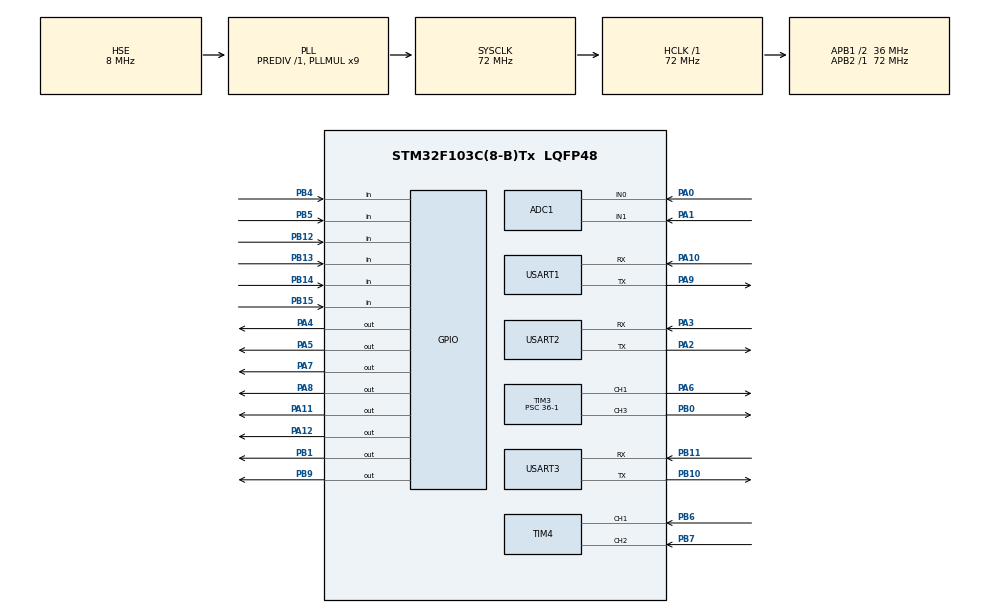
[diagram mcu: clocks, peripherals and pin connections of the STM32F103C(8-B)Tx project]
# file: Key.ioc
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ADC1.Channel-0\#ChannelRegularConversion=ADC_CHANNEL_0
ADC1.Channel-1\#ChannelRegularConversion=ADC_CHANNEL_1
ADC1.ContinuousConvMode=ENABLE
ADC1.NbrOfConversion=2
ADC1.NbrOfConversionFlag=1
ADC1.Rank-0\#ChannelRegularConversion=1
ADC1.Rank-1\#ChannelRegularConversion=2
ADC1.SamplingTime-0\#ChannelRegularConversion=ADC_SAMPLETIME_55CYCLES_5
ADC1.SamplingTime-1\#ChannelRegularConversion=ADC_SAMPLETIME_55CYCLES_5
ADC1.master=1
Dma.ADC1.0.Direction=DMA_PERIPH_TO_MEMORY
Dma.ADC1.0.Instance=DMA1_Channel1
Dma.ADC1.0.MemDataAlignment=DMA_MDATAALIGN_HALFWORD
Dma.ADC1.0.MemInc=DMA_MINC_ENABLE
Dma.ADC1.0.Mode=DMA_CIRCULAR
Dma.ADC1.0.PeriphDataAlignment=DMA_PDATAALIGN_HALFWORD
Dma.ADC1.0.PeriphInc=DMA_PINC_DISABLE
Dma.ADC1.0.Priority=DMA_PRIORITY_LOW
Dma.Request0=ADC1
IWDG.Prescaler=IWDG_PRESCALER_64
IWDG.Reload=3124
Mcu.Family=STM32F1
Mcu.Name=STM32F103C(8-B)Tx
Mcu.Package=LQFP48
NVIC.DMA1_Channel1_IRQn=true\:0\:0\:false\:false\:true\:false\:true\:true
NVIC.PriorityGroup=NVIC_PRIORITYGROUP_4
NVIC.TIM2_IRQn=true\:15\:0\:false\:false\:true\:false\:true\:true
NVIC.TimeBase=TIM2_IRQn
NVIC.TimeBaseIP=TIM2
NVIC.USART1_IRQn=true\:11\:0\:true\:false\:true\:true\:true\:true
NVIC.USART2_IRQn=true\:11\:0\:true\:false\:true\:true\:true\:true
NVIC.USART3_IRQn=true\:11\:0\:true\:false\:true\:true\:true\:true
PA0-WKUP.Signal=ADCx_IN0
PA1.Signal=ADCx_IN1
PA10.Mode=Asynchronous
PA10.Signal=USART1_RX
PA11.PinState=GPIO_PIN_RESET
PA11.Signal=GPIO_Output
PA12.PinState=GPIO_PIN_RESET
PA12.Signal=GPIO_Output
PA2.Mode=Asynchronous
PA2.Signal=USART2_TX
PA3.Mode=Asynchronous
PA3.Signal=USART2_RX
PA4.GPIO_ModeDefaultOutputPP=GPIO_MODE_OUTPUT_OD
PA4.GPIO_PuPd=GPIO_NOPULL
PA4.PinState=GPIO_PIN_SET
PA4.Signal=GPIO_Output
PA5.GPIO_ModeDefaultOutputPP=GPIO_MODE_OUTPUT_OD
PA5.GPIO_PuPd=GPIO_NOPULL
PA5.PinState=GPIO_PIN_SET
PA5.Signal=GPIO_Output
PA6.Signal=S_TIM3_CH1
PA7.PinState=GPIO_PIN_RESET
PA7.Signal=GPIO_Output
PA8.PinState=GPIO_PIN_RESET
PA8.Signal=GPIO_Output
PA9.Mode=Asynchronous
PA9.Signal=USART1_TX
PB0.Signal=S_TIM3_CH3
PB1.PinState=GPIO_PIN_RESET
PB1.Signal=GPIO_Output
PB10.Mode=Asynchronous
PB10.Signal=USART3_TX
PB11.Mode=Asynchronous
PB11.Signal=USART3_RX
PB12.GPIO_PuPd=GPIO_PULLUP
PB12.Signal=GPIO_Input
PB13.GPIO_PuPd=GPIO_PULLUP
PB13.Signal=GPIO_Input
PB14.GPIO_PuPd=GPIO_PULLUP
PB14.Signal=GPIO_Input
PB15.GPIO_PuPd=GPIO_PULLUP
PB15.Signal=GPIO_Input
PB4.GPIO_Mode=GPIO_MODE_INPUT
PB4.Signal=GPIO_Input
PB5.GPIO_PuPd=GPIO_PULLUP
PB5.Signal=GPIO_Input
PB6.Signal=S_TIM4_CH1
PB7.Signal=S_TIM4_CH2
PB9.GPIO_ModeDefaultOutputPP=GPIO_MODE_OUTPUT_OD
PB9.GPIO_PuPd=GPIO_NOPULL
PB9.PinState=GPIO_PIN_SET
PB9.Signal=GPIO_Output
PC14-OSC32_IN.Mode=LSE-External-Oscillator
PC14-OSC32_IN.Signal=RCC_OSC32_IN
PC15-OSC32_OUT.Mode=LSE-External-Oscillator
PC15-OSC32_OUT.Signal=RCC_OSC32_OUT
PD0-OSC_IN.Mode=HSE-External-Oscillator
PD0-OSC_IN.Signal=RCC_OSC_IN
PD1-OSC_OUT.Mode=HSE-External-Oscillator
PD1-OSC_OUT.Signal=RCC_OSC_OUT
ProjectManager.HeapSize=0x200
ProjectManager.StackSize=0x400
ProjectManager.TargetToolchain=MDK-ARM V5.32
RCC.ADCPresc=RCC_ADCPCLK2_DIV6
RCC.AHBFreq_Value=72000000
RCC.APB1CLKDivider=RCC_HCLK_DIV2
RCC.APB1Freq_Value=36000000
RCC.APB1TimFreq_Value=72000000
RCC.APB2Freq_Value=72000000
RCC.APB2TimFreq_Value=72000000
RCC.HCLKFreq_Value=72000000
RCC.PLLMUL=RCC_PLL_MUL9
RCC.PLLSourceVirtual=RCC_PLLSOURCE_HSE
RCC.RTCClockSelection=RCC_RTCCLKSOURCE_LSE
RCC.SYSCLKFreq_VALUE=72000000
RCC.SYSCLKSource=RCC_SYSCLKSOURCE_PLLCLK
RCC.USBFreq_Value=72000000
SH.ADCx_IN0.0=ADC1_IN0,IN0
SH.ADCx_IN1.0=ADC1_IN1,IN1
SH.S_TIM3_CH1.0=TIM3_CH1,PWM Generation1 CH1
SH.S_TIM3_CH3.0=TIM3_CH3,PWM Generation3 CH3
SH.S_TIM4_CH1.0=TIM4_CH1,Encoder_Interface
SH.S_TIM4_CH2.0=TIM4_CH2,Encoder_Interface
TIM1.Prescaler=72 - 1
TIM3.Channel-PWM\ Generation1\ CH1=TIM_CHANNEL_1
TIM3.Channel-PWM\ Generation3\ CH3=TIM_CHANNEL_3
TIM3.OCPolarity_3=TIM_OCPOLARITY_LOW
TIM3.Period=100-1
TIM3.Prescaler=36-1
TIM4.AutoReloadPreload=TIM_AUTORELOAD_PRELOAD_ENABLE
TIM4.EncoderMode=TIM_ENCODERMODE_TI12
TIM4.IC1Filter=10
TIM4.IC1Polarity=TIM_ICPOLARITY_FALLING
TIM4.IC2Filter=10
USART1.VirtualMode=VM_ASYNC
USART2.VirtualMode=VM_ASYNC
USART3.VirtualMode=VM_ASYNC
VP_IWDG_VS_IWDG.Mode=IWDG_Activate
VP_RTC_VS_RTC_Activate.Mode=RTC_Enabled
VP_RTC_VS_RTC_Calendar.Mode=RTC_Calendar
VP_SYS_VS_ND.Mode=No_Debug
VP_SYS_VS_tim2.Mode=TIM2
VP_TIM1_VS_ClockSourceINT.Mode=Internal
VP_TIM3_VS_ClockSourceINT.Mode=Internal
board=custom

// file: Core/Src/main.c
/* USER CODE BEGIN Header */
/**
  ******************************************************************************
  * @file           : main.c
  * @brief          : Main program body
  ******************************************************************************
  * @attention
  *
  * Copyright (c) 2026 STMicroelectronics.
  * All rights reserved.
  *
  * This software is licensed under terms that can be found in the LICENSE file
  * in the root directory of this software component.
  * If no LICENSE file comes with this software, it is provided AS-IS.
  *
  ******************************************************************************
  */
/* USER CODE END Header */
#include "main.h"
#include "adc.h"
#include "dma.h"
#include "iwdg.h"
#include "rtc.h"
#include "tim.h"
#include "usart.h"
#include "gpio.h"

/* USER CODE BEGIN Includes */

#include "FreeRTOS_Demo.h"
#include "OLED.h"
#include "Receive.h"
#include "ATcommand.h"
#include "FreeRTOS.h"
#include "semphr.h"
#include "queue.h"
#include "Key.h"
#include "event_groups.h"

/* USER CODE END Includes */

void SystemClock_Config(void);

/* USER CODE BEGIN 0 */

//信号量句柄
SemaphoreHandle_t ESP01S_Semaphore_handle;
QueueHandle_t AT_SendResult_handle;
QueueHandle_t switch_control_handle;
QueueHandle_t Key_Queue_handle;

QueueHandle_t Encoder_handle;

SemaphoreHandle_t Voice_handle;//语音的信号量句柄

//事件标志组句柄
EventGroupHandle_t Send_inf_handle;

//ADC存放数据的数组
uint16_t ADC_Value[2] = {0};

uint16_t Servo_CNT = 0;
uint16_t volatile Servo_CCR = 1;

/* USER CODE END 0 */

int main(void)
{

  /* MCU Configuration--------------------------------------------------------*/

  /* Reset of all peripherals, Initializes the Flash interface and the Systick. */
  HAL_Init();

  /* Configure the system clock */
  SystemClock_Config();

  /* Initialize all configured peripherals */
  MX_GPIO_Init();
  MX_DMA_Init();
  MX_USART1_UART_Init();
  MX_USART2_UART_Init();
  MX_USART3_UART_Init();
  MX_TIM1_Init();
  MX_ADC1_Init();
  MX_TIM3_Init();
  MX_RTC_Init();
  MX_TIM4_Init();
  MX_IWDG_Init();
  /* USER CODE BEGIN 2 */

  //创建信号量,要先创建，不然上电启动的信息处理不了,主要是esp8266的上电启动信息
  ESP01S_Semaphore_handle = xSemaphoreCreateCounting(256,0);
  AT_SendResult_handle = xSemaphoreCreateBinary();
  switch_control_handle = xSemaphoreCreateBinary();
  Voice_handle = xSemaphoreCreateCounting(128,0);

  //创建队列，给按键用
  Key_Queue_handle = xQueueCreate(5,sizeof(uint8_t));

  //创建标志组，发送信号用
  Send_inf_handle = xEventGroupCreate();

  //给编码器用的计数型信号量
  Encoder_handle = xSemaphoreCreateBinary();

  HAL_TIM_Encoder_Start(&htim4,TIM_CHANNEL_1 | TIM_CHANNEL_2);
  HAL_TIM_PWM_Start(&htim3,TIM_CHANNEL_1);
  HAL_TIM_PWM_Start(&htim3,TIM_CHANNEL_3);
  ATCommand_Init();
  OLED_Init();

  HAL_ADC_Start_DMA(&hadc1,(uint32_t *) ADC_Value,2);
  HAL_UART_Receive_IT(&huart2, &Rx, 1);
  HAL_UART_Receive_IT(&huart3, &Rx, 1);
  HAL_TIM_Base_Start(&htim1);

  FreeRTOS_Start();

  /* USER CODE END 2 */

  /* Infinite loop */
  while (1)
  {

  }
}

void SystemClock_Config(void)
{
  RCC_OscInitTypeDef RCC_OscInitStruct = {0};
  RCC_ClkInitTypeDef RCC_ClkInitStruct = {0};
  RCC_PeriphCLKInitTypeDef PeriphClkInit = {0};

  /** Initializes the RCC Oscillators according to the specified parameters
  * in the RCC_OscInitTypeDef structure.
  */
  RCC_OscInitStruct.OscillatorType = RCC_OSCILLATORTYPE_LSI|RCC_OSCILLATORTYPE_HSE
                              |RCC_OSCILLATORTYPE_LSE;
  RCC_OscInitStruct.HSEState = RCC_HSE_ON;
  RCC_OscInitStruct.HSEPredivValue = RCC_HSE_PREDIV_DIV1;
  RCC_OscInitStruct.LSEState = RCC_LSE_ON;
  RCC_OscInitStruct.HSIState = RCC_HSI_ON;
  RCC_OscInitStruct.LSIState = RCC_LSI_ON;
  RCC_OscInitStruct.PLL.PLLState = RCC_PLL_ON;
  RCC_OscInitStruct.PLL.PLLSource = RCC_PLLSOURCE_HSE;
  RCC_OscInitStruct.PLL.PLLMUL = RCC_PLL_MUL9;
  if (HAL_RCC_OscConfig(&RCC_OscInitStruct) != HAL_OK)
  {
    Error_Handler();
  }

  /** Initializes the CPU, AHB and APB buses clocks
  */
  RCC_ClkInitStruct.ClockType = RCC_CLOCKTYPE_HCLK|RCC_CLOCKTYPE_SYSCLK
                              |RCC_CLOCKTYPE_PCLK1|RCC_CLOCKTYPE_PCLK2;
  RCC_ClkInitStruct.SYSCLKSource = RCC_SYSCLKSOURCE_PLLCLK;
  RCC_ClkInitStruct.AHBCLKDivider = RCC_SYSCLK_DIV1;
  RCC_ClkInitStruct.APB1CLKDivider = RCC_HCLK_DIV2;
  RCC_ClkInitStruct.APB2CLKDivider = RCC_HCLK_DIV1;

  if (HAL_RCC_ClockConfig(&RCC_ClkInitStruct, FLASH_LATENCY_2) != HAL_OK)
  {
    Error_Handler();
  }
  PeriphClkInit.PeriphClockSelection = RCC_PERIPHCLK_RTC|RCC_PERIPHCLK_ADC;
  PeriphClkInit.RTCClockSelection = RCC_RTCCLKSOURCE_LSE;
  PeriphClkInit.AdcClockSelection = RCC_ADCPCLK2_DIV6;
  if (HAL_RCCEx_PeriphCLKConfig(&PeriphClkInit) != HAL_OK)
  {
    Error_Handler();
  }
}

void HAL_TIM_PeriodElapsedCallback(TIM_HandleTypeDef *htim)
{
  if (htim->Instance == TIM2) {
    HAL_IncTick();
  }
  /* USER CODE BEGIN Callback 1 */

  Servo_CNT ++;
  if (Servo_CNT > 19)
  {
    Servo_CNT = 0;
  }
  if (Servo_CNT < Servo_CCR)
  {
    HAL_GPIO_WritePin(GPIOA,GPIO_PIN_7,GPIO_PIN_SET);
  }
  else
  {
    HAL_GPIO_WritePin(GPIOA,GPIO_PIN_7,GPIO_PIN_RESET);
  }

  /* USER CODE END Callback 1 */
}

void Error_Handler(void)
{
  __disable_irq();
  while (1)
  {
  }
}
